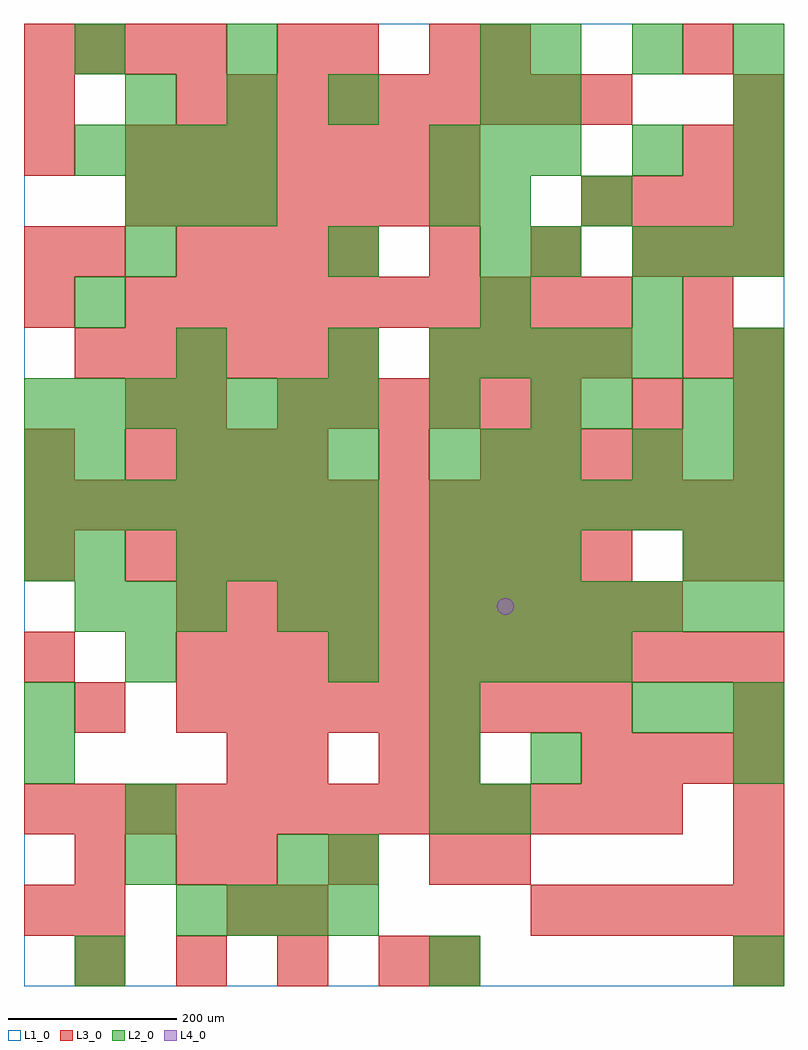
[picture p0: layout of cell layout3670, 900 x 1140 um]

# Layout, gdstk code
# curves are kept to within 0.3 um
import gdstk
lib = gdstk.Library(unit=1e-6, precision=1e-09)
def R(c, l, rs):  # rectangles x0, y0, x1, y1
    for r in rs: c.add(gdstk.rectangle(r[:2], r[2:], *l))
def A(c, l, x, y, w, h, nx, ny, dx, dy):  # array of equal rectangles
    R(c, l, [(x+i*dx, y+j*dy, x+i*dx+w, y+j*dy+h) for i in range(nx) for j in range(ny)])
def P(c, l, *ps):  # polygons
    for p in ps: c.add(gdstk.Polygon(p, *l))
L1_0 = (1, 0)
L2_0 = (2, 0)
L3_0 = (3, 0)
L4_0 = (4, 0)

layout3670 = lib.new_cell('layout3670')
R(layout3670, L1_0, [(0,0,900,1140)])
A(layout3670, L2_0, 840, 0, 60, 60, 1, 3, 0, 240)
A(layout3670, L2_0, 180, 60, 60, 60, 4, 2, 60, 420)
A(layout3670, L2_0, 480, 180, 60, 60, 1, 3, 0, 60)
A(layout3670, L2_0, 720, 300, 60, 60, 3, 2, 60, 300)
A(layout3670, L2_0, 480, 360, 60, 60, 4, 1, 60, 0)
A(layout3670, L2_0, 60, 420, 60, 60, 3, 1, 60, 0)
A(layout3670, L2_0, 480, 420, 60, 60, 7, 2, 60, 120)
A(layout3670, L2_0, 480, 480, 60, 60, 3, 2, 60, 120)
A(layout3670, L2_0, 0, 540, 60, 60, 7, 2, 60, 120)
A(layout3670, L2_0, 180, 600, 60, 60, 4, 1, 60, 0)
A(layout3670, L2_0, 600, 660, 60, 60, 1, 3, 0, 180)
A(layout3670, L2_0, 480, 720, 60, 60, 5, 1, 60, 0)
A(layout3670, L2_0, 540, 780, 60, 60, 1, 3, 0, 60)
A(layout3670, L2_0, 720, 840, 60, 60, 3, 1, 60, 0)
A(layout3670, L2_0, 120, 900, 60, 60, 3, 1, 60, 0)
A(layout3670, L2_0, 840, 900, 60, 60, 1, 3, 0, 60)
A(layout3670, L2_0, 60, 960, 60, 60, 4, 1, 60, 0)
A(layout3670, L2_0, 480, 960, 60, 60, 3, 1, 60, 0)
A(layout3670, L2_0, 120, 1020, 60, 60, 3, 1, 120, 0)
A(layout3670, L2_0, 600, 1080, 60, 60, 3, 1, 120, 0)
R(layout3670, L2_0, [(60,0,120,60), (480,0,540,60), (120,120,180,180), (300,120,360,180), (360,120,420,180), (120,180,180,240), (540,180,600,240), (0,240,60,300), (600,240,660,300), (0,300,60,360), (120,360,180,420), (360,360,420,420), (300,420,360,480), (360,420,420,480), (0,480,60,540), (60,480,120,540), (780,480,840,540), (0,600,60,660), (60,600,120,660), (480,660,540,720), (660,660,720,720), (780,660,840,720), (840,660,900,720), (180,720,240,780), (360,720,420,780), (840,720,900,780), (60,780,120,840), (720,780,780,840), (120,840,180,900), (360,840,420,900), (480,900,540,960), (660,900,720,960), (720,960,780,1020), (540,1020,600,1080), (60,1080,120,1140), (240,1080,300,1140), (540,1080,600,1140)])
A(layout3670, L3_0, 60, 0, 60, 60, 4, 1, 120, 0)
A(layout3670, L3_0, 600, 60, 60, 60, 5, 1, 60, 0)
A(layout3670, L3_0, 240, 120, 60, 60, 3, 1, 120, 0)
A(layout3670, L3_0, 0, 180, 60, 60, 13, 1, 60, 0)
A(layout3670, L3_0, 660, 240, 60, 60, 4, 2, 60, 660)
A(layout3670, L3_0, 180, 300, 60, 60, 9, 2, 60, 720)
A(layout3670, L3_0, 0, 360, 60, 60, 1, 3, 0, 120)
A(layout3670, L3_0, 180, 360, 60, 60, 12, 1, 60, 0)
A(layout3670, L3_0, 180, 420, 60, 60, 10, 1, 60, 0)
A(layout3670, L3_0, 120, 480, 60, 60, 10, 2, 60, 300)
A(layout3670, L3_0, 0, 540, 60, 60, 15, 1, 60, 0)
A(layout3670, L3_0, 120, 600, 60, 60, 4, 1, 60, 0)
A(layout3670, L3_0, 540, 600, 60, 60, 4, 1, 60, 0)
A(layout3670, L3_0, 840, 600, 60, 60, 1, 3, 0, 60)
A(layout3670, L3_0, 300, 660, 60, 60, 6, 1, 60, 0)
A(layout3670, L3_0, 60, 720, 60, 60, 6, 1, 60, 0)
A(layout3670, L3_0, 480, 720, 60, 60, 4, 1, 60, 0)
A(layout3670, L3_0, 780, 720, 60, 60, 1, 3, 0, 60)
A(layout3670, L3_0, 180, 840, 60, 60, 4, 1, 60, 0)
A(layout3670, L3_0, 480, 840, 60, 60, 3, 1, 120, 0)
A(layout3670, L3_0, 120, 900, 60, 60, 7, 2, 60, 60)
A(layout3670, L3_0, 0, 1080, 60, 60, 4, 1, 60, 0)
R(layout3670, L3_0, [(480,0,540,60), (840,0,900,60), (0,60,60,120), (60,60,120,120), (240,60,300,120), (300,60,360,120), (60,120,120,180), (180,120,240,180), (540,120,600,180), (840,120,900,180), (840,180,900,240), (240,240,300,300), (300,240,360,300), (420,240,480,300), (480,240,540,300), (60,300,120,360), (840,300,900,360), (780,480,840,540), (840,480,900,540), (420,600,480,660), (120,660,180,720), (180,660,240,720), (720,660,780,720), (0,780,60,840), (0,840,60,900), (60,840,120,900), (840,840,900,900), (0,960,60,1020), (780,960,840,1020), (840,960,900,1020), (0,1020,60,1080), (840,1020,900,1080), (300,1080,360,1140), (360,1080,420,1140), (480,1080,540,1140), (540,1080,600,1140), (780,1080,840,1140)])
P(layout3670, L4_0, [(580,450),(579.239,453.827),(577.071,457.071),(573.827,459.239),(570,460),(566.173,459.239),(562.929,457.071),(560.761,453.827),(560,450),(560.761,446.173),(562.929,442.929),(566.173,440.761),(570,440),(573.827,440.761),(577.071,442.929),(579.239,446.173)])

lib.write_gds('layout3670.gds')
